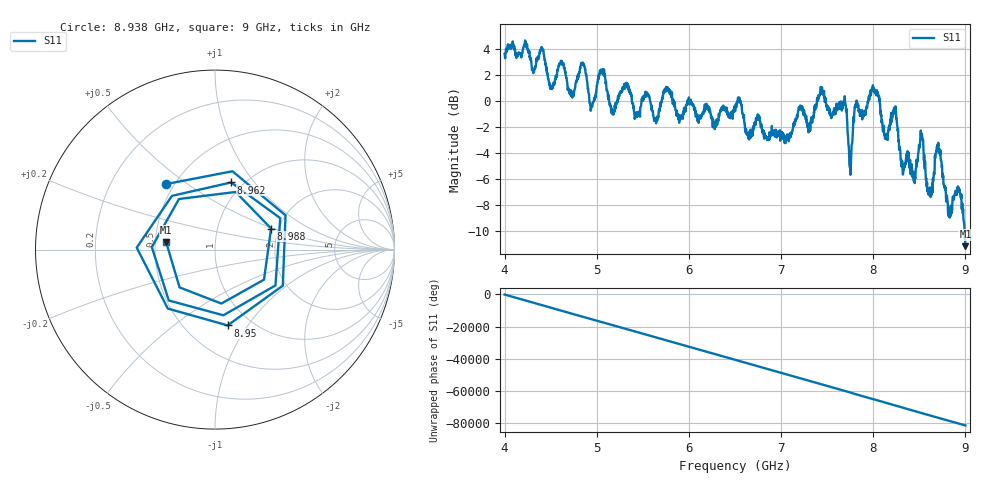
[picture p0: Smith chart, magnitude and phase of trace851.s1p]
! Created with skrf 1.8.0 (http://scikit-rf.org).
# Hz S RI R 50.0
!freq ReS11 ImS11
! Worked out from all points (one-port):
!   1601 points, 4 GHz to 9 GHz, reference 50 ohm
!   lowest |S11| = -11.2 dB at 9 GHz (marker M1), VSWR 1.76, Z = 28.5 + j2.62 ohm
!   |S11| at or under -10 dB: 8.99167 GHz to end of sweep
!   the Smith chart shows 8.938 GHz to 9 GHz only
!   S11 on the Smith chart (normalised r, x): 8.938 GHz: 0.45, +0.42; 8.95 GHz: 0.78, -0.81; 8.962 GHz: 0.88, +0.77; 8.988 GHz: 1.83, +0.48; 9 GHz: 0.57, +0.05
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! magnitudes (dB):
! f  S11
! 4 GHz  3.6
! 4.403 GHz  4.1
! 4.509 GHz  0.9
! 4.625 GHz  2.8
! 4.728 GHz  0.4
! 4.85 GHz  2.9
! 4.944 GHz  -0.4
! 5.056 GHz  2.1
! 5.166 GHz  -0.8
! 5.25 GHz  0.7
! 5.875 GHz  -1.2
! 6.5 GHz  -0.7
! 7.125 GHz  -2.2
! 7.441 GHz  0.6
! 7.688 GHz  -0.2
! 7.75 GHz  -5.0
! 7.812 GHz  -0.5
! 8.003 GHz  1.0
! 8.375 GHz  -4.0
! 8.522 GHz  -2.8
! 8.612 GHz  -7.2
! 8.703 GHz  -3.5
! 8.831 GHz  -9.0
! 8.938 GHz  -6.8
! 8.95 GHz  -7.4
! 8.962 GHz  -8.3
! 8.988 GHz  -9.5
! 9 GHz  -11.2
